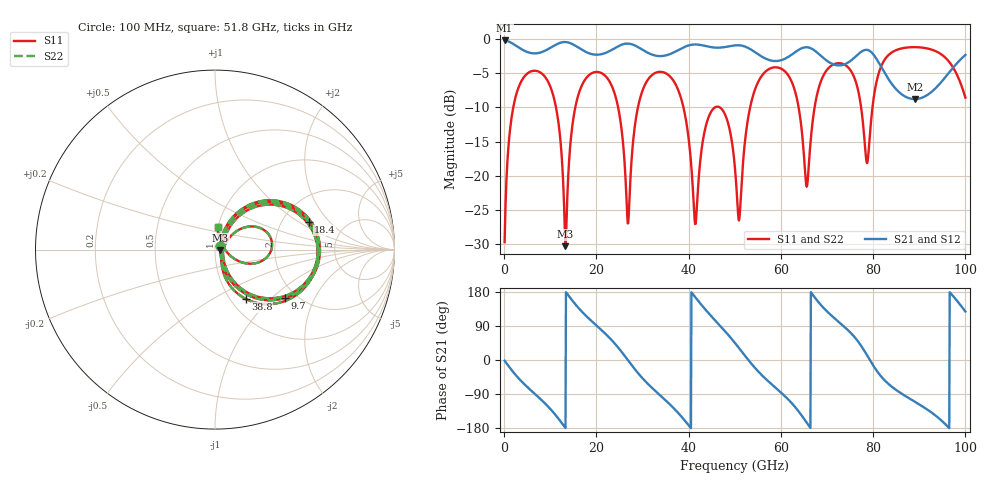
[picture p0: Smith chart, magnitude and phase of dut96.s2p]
! Touchstone file exported from HFSS 2026.1.0
!  File:  C:/ffzhzh/LocalFiles/Ansys_Project_Files/temp_train_TSV_RDL_96_1783454233_41684.aedt
!  Generated:  04:34:49 AM Jul  8, 2026
!  Design:  TSV_RDL
!  Project:  temp_train_TSV_RDL_96_1783454233_41684
! Variables:
!  h_bsmrdl = 4.59um
!  h_ox = 20um
!  h_rdl = 5um
!  h_sub = 90.16um
!  h_tmrdl = 2.97um
!  h_tsv = 90.16um
!  h_via = 3um
!  l_bsmrdl = 484.28um
!  l_sub = 4457.04um
!  l_tmrdl = 627.08um
!  m_sub = 200um
!  pitch = 44.2um
!  r_tsv = 5.08um
!  s_tmrdl = 10um
!  w_bsmrdl = 12.56um
!  w_sub = 500um
!  w_tmrdl = 19.4um
!  x_tsv_center1 = 636.78um
!  x_tsv_center2 = 1133.62um
!  x_tsv_center3 = 1780.1um
!  x_tsv_center4 = 2276.94um
!  x_tsv_center5 = 2923.42um
!  x_tsv_center6 = 3420.26um
# GHz S MA R 50.000000
! Terminal data exported
! Port[1] = TM_RDL1_1_T1
! Port[2] = TM_RDL5_1_T1
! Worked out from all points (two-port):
!   1000 points, 100 MHz to 100 GHz, reference 50 ohm
!   highest |S21| = -0.24 dB at 100 MHz (marker M1); lowest = -8.8 dB at 89 GHz (marker M2)
!   |S21| within 3 dB of the highest: start of sweep to 58.57 GHz; 59.09 GHz to 70.05 GHz (10.96 GHz wide, 17 % of centre) (the widest 2 of 4)
!   lowest |S11| = -30.3 dB at 13.3 GHz (marker M3), VSWR 1.06, Z = 53.2 - j0.255 ohm
!   |S11| at or under -10 dB: 24.71 GHz to 29.01 GHz (4.299 GHz wide, 16 % of centre); 38.87 GHz to 45.73 GHz (6.865 GHz wide, 16.2 % of centre); 46.73 GHz to 53.33 GHz (6.601 GHz wide, 13.2 % of centre) (the widest 3 of 7)
!   |S22| runs from -30.2 to -1.2 dB; largest |S21 - S12| = 1.3e-12
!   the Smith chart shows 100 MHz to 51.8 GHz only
!   S11 on the Smith chart (normalised r, x): 100 MHz: 1.06, +0.04; 9.7 GHz: 1.74, -1.21; 18.4 GHz: 2.78, +1.22; 38.8 GHz: 1.17, -0.72; 51.8 GHz: 1.00, +0.25
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0.1  0.03279 32.7  0.9728 -1.7  0.9728 -1.7  0.03279 32.7
! Gamma 0 0 0 0
! Port Impedance 50 0 50 0
2.9  0.4208 40.7  0.8763 -45.1  0.8763 -45.1  0.4208 40.7
9.7  0.4729 -34.8  0.8472 -125.1  0.8472 -125.1  0.4729 -34.8
13.3  0.03064 -4.5  0.9471 -179.4  0.9471 -179.4  0.03084 -4.4
16.8  0.4534 34.4  0.8343 128.3  0.8343 128.3  0.4534 34.4
18.4  0.5436 16.6  0.7842 109.0  0.7842 109.0  0.5436 16.6
24  0.3941 -43.4  0.8557 43.2  0.8557 43.2  0.3941 -43.4
26.6  0.05922 -39.5  0.9228 3.4  0.9228 3.4  0.05953 -39.2
33.4  0.5726 0.1  0.7489 -88.6  0.7489 -88.6  0.5726 0.1
38.8  0.3235 -58.1  0.8629 -154.5  0.8629 -154.5  0.3235 -58.1
41.4  0.04451 -21.2  0.9095 166.2  0.9095 166.2  0.04436 -21.2
45.5  0.3122 15.1  0.8642 107.8  0.8642 107.8  0.3121 15.0
50.1  0.1077 -24.3  0.8959 44.1  0.8959 44.1  0.1074 -24.5
51.8  0.1261 82.9  0.8872 17.6  0.8872 17.6  0.126 83.2
60.8  0.5818 -2.7  0.7137 -94.6  0.7137 -94.6  0.5819 -2.6
65.5  0.0854 2.0  0.8683 -163.5  0.8683 -163.5  0.08683 2.2
66.7  0.2203 63.4  0.8463 175.6  0.8463 175.6  0.2209 63.1
73.6  0.6529 0.6  0.648 89.4  0.648 89.4  0.6529 0.5
78.6  0.1249 2.5  0.831 14.1  0.831 14.1  0.1244 2.5
83.4  0.7651 20.1  0.5032 -64.0  0.5032 -64.0  0.7652 20.1
89  0.8694 -20.1  0.3631 -109.8  0.3631 -109.8  0.8695 -20.1
100  0.3721 -130.7  0.7636 127.9  0.7636 127.9  0.3719 -131.0
